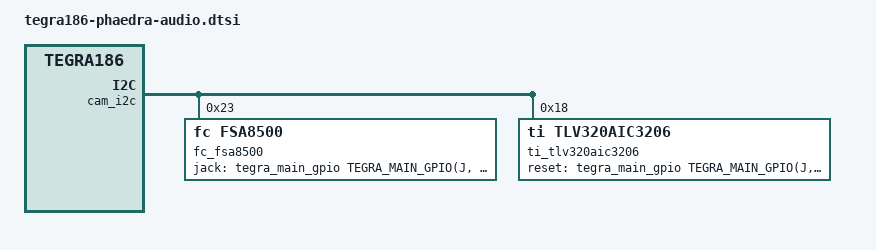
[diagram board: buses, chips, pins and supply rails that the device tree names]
/*
 * tegra186-phaedra-audio.dtsi
 *
 * Audio device tree for the Phaedra product.
 *
 * Copyright (c) 2016, Magic Leap, Inc.  All rights reserved.
 *
 * This program is free software; you can redistribute it and/or modify
 * it under the terms of the GNU General Public License as published by
 * the Free Software Foundation; version 2 of the License.
 *
 * This program is distributed in the hope that it will be useful, but WITHOUT
 * ANY WARRANTY; without even the implied warranty of MERCHANTABILITY or
 * FITNESS FOR A PARTICULAR PURPOSE.  See the GNU General Public License for
 * more details.
 */

/* i2c@3180000 */
&cam_i2c {
	status = "okay";
	fc_fsa8500: fsa8500@23 {
		compatible = "fc,fsa8500";
		reg = <0x23>;
		status = "okay";
		/* gpios for jack detection */
		jack-gpios = <&tegra_main_gpio TEGRA_MAIN_GPIO(J, 5) GPIO_ACTIVE_LOW>;
	};

	ti_tlv320aic3206: aic3206@18 {
		compatible = "ti,tlv320aic3206";
		reg = <0x18>;
		status = "okay";
		/* gpios for hw-reset */
		reset-gpios = <&tegra_main_gpio TEGRA_MAIN_GPIO(J, 6) GPIO_ACTIVE_LOW>;
	};
};

&tegra_sound {
	compatible = "nvidia,tegra-audio-t186ref-mobile-phaedra";
	nvidia,model = "tegra-snd-t186ref-mobile-phaedra";

	nvidia,dai-link-1 {
		link-name = "spdif-dit-0";
		cpu-dai = <&tegra_i2s1>;
		codec-dai = <&spdif_dit0>;
		cpu-dai-name = "I2S1";
		codec-dai-name = "dit-hifi";
		tx-mask = <0xFF>;
		rx-mask = <0xFF>;
		format = "dsp_a";
		bitclock-slave;
		frame-slave;
		bitclock-inversion;
		frame-noninversion;
		bit-format = "s16_le";
		bclk_ratio = <4>;
		srate = <8000>;
		num-channel = <1>;
		ignore_suspend;
		name-prefix = "x";
		status = "okay";
	};
	nvidia,dai-link-2 {
		link-name = "spdif-dit-1";
		cpu-dai = <&tegra_i2s2>;
		codec-dai = <&spdif_dit1>;
		cpu-dai-name = "I2S2";
		codec-dai-name = "dit-hifi";
		format = "i2s";
		bitclock-slave;
		frame-slave;
		bitclock-noninversion;
		frame-noninversion;
		bit-format = "s16_le";
		bclk_ratio = <2>;
		srate = <48000>;
		num-channel = <2>;
		ignore_suspend;
		name-prefix = "y";
		status = "okay";
	};
	tlv320aic3206_dai_link: nvidia,dai-link-4 {
		link-name = "aic3206-playback";
		cpu-dai = <&tegra_i2s4>;
		codec-dai = <&ti_tlv320aic3206>;
		cpu-dai-name = "I2S4";
		codec-dai-name = "tlv320aic3206-hifi";
		format = "i2s";
		bitclock-slave;
		frame-slave;
		bitclock-noninversion;
		frame-noninversion;
		bit-format = "s16_le";
		bclk_ratio = <2>;
		srate = <48000>;
		num-channel = <2>;
		ignore_suspend;
		name-prefix = "m";
		status = "okay";
	};
};

/ {
	ahub {
		/* Disable dmic1 pinctrl. */
		dmic@2904000 {
			nvidia,is-pinctrl = <0>;
		};
		/* Set i2s1 frame-sync to pcm mode. */
		i2s@2901000 {
			fsync-width = <0>;
		};
		/* Disable i2s3 pinctrl. */
		i2s@2901200 {
			nvidia,is-pinctrl = <0>;
		};
	};
};
